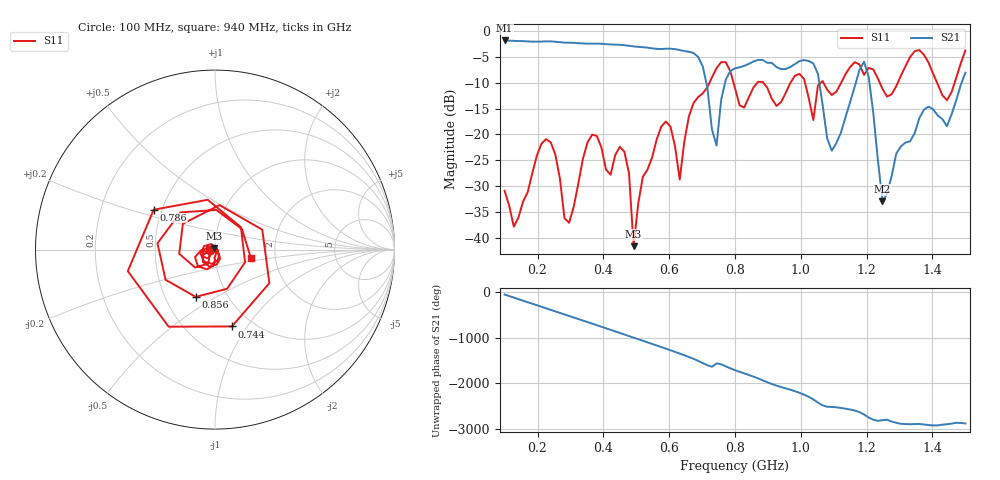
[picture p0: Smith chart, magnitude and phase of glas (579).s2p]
! NanoVNA-App
! Date: 2025-09-25 15:59:59
! Start: 100MHz Stop: 1,5GHz Points: 101
! S-Parameter data: F S11 S21 S12 S22
# Hz S RI R 50
!  Frequency  S11_Real  S11_Imag  S21_Real  S21_Imag  S12_Real  S12_Imag  S22_Real  S22_Imag
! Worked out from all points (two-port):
!   101 points, 100 MHz to 1.5 GHz, reference 50 ohm
!   highest |S21| = -1.80 dB at 100 MHz (marker M1); lowest = -32.9 dB at 1.248 GHz (marker M2)
!   |S21| within 3 dB of the highest: start of sweep to 684.4 MHz
!   lowest |S11| = -41.7 dB at 492 MHz (marker M3), VSWR 1.02, Z = 49.5 + j0.638 ohm
!   |S11| at or under -10 dB: start of sweep to 722.4 MHz; 795.5 MHz to 867.8 MHz (72.26 MHz wide, 8.69 % of centre); 886.1 MHz to 968.4 MHz (82.32 MHz wide, 8.88 % of centre) (the widest 3 of 7)
!   S12 and S22 are empty: the file has one direction only
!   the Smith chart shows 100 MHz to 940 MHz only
!   S11 on the Smith chart (normalised r, x): 100 MHz: 0.95, -0.01; 744 MHz: 0.80, -0.85; 786 MHz: 0.45, +0.24; 856 MHz: 0.71, -0.41; 940 MHz: 1.49, -0.15
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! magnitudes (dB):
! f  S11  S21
! 100 MHz  -30.9  -1.8
! 128 MHz  -37.9  -1.9
! 226 MHz  -20.9  -2.0
! 296 MHz  -37.1  -2.2
! 338 MHz  -24.7  -2.4
! 464 MHz  -23.4  -2.7
! 492 MHz  -41.7  -3.0
! 576 MHz  -18.5  -3.5
! 632 MHz  -28.8  -3.7
! 702 MHz  -12.1  -6.8
! 744 MHz  -7.2  -22.2
! 786 MHz  -7.8  -7.7
! 800 MHz  -11.0  -7.2
! 856 MHz  -10.9  -5.9
! 940 MHz  -13.7  -7.4
! 1.038 GHz  -17.2  -6.2
! 1.094 GHz  -12.4  -23.2
! 1.192 GHz  -8.5  -5.9
! 1.248 GHz  -11.2  -32.9
! 1.276 GHz  -12.2  -28.0
! 1.444 GHz  -13.4  -18.4
! 1.5 GHz  -3.7  -8.0
